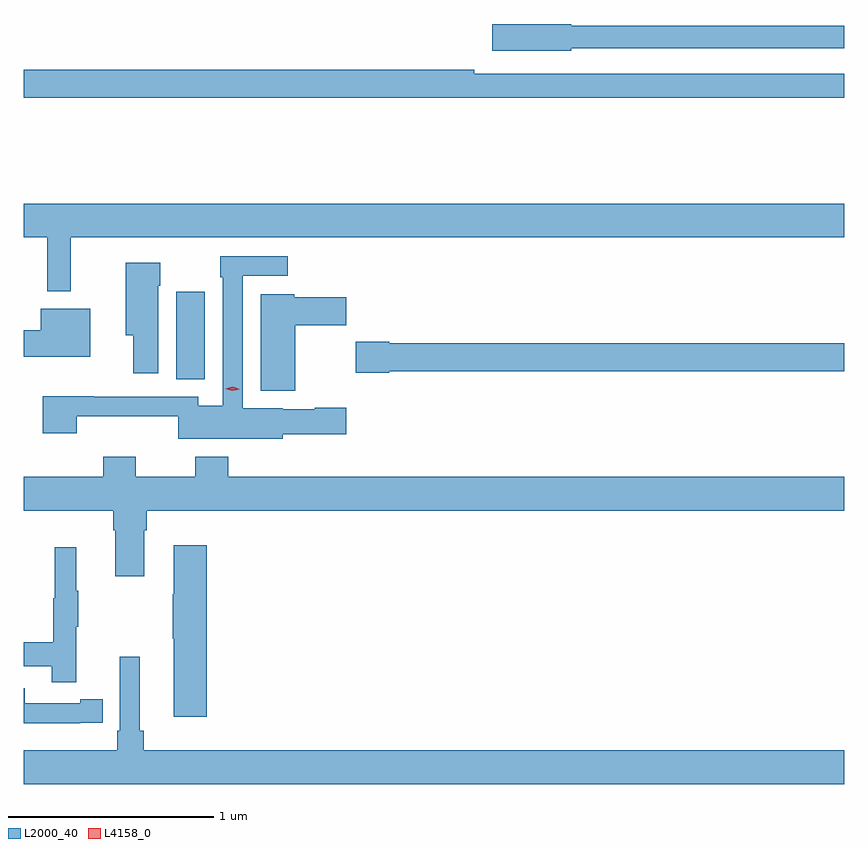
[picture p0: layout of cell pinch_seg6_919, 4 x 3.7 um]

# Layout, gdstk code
import gdstk
lib = gdstk.Library(unit=1e-6, precision=1e-09)
def R(c, l, rs):  # rectangles x0, y0, x1, y1
    for r in rs: c.add(gdstk.rectangle(r[:2], r[2:], *l))
def P(c, l, *ps):  # polygons
    for p in ps: c.add(gdstk.Polygon(p, *l))
L2000_40 = (2000, 40)
L4158_0 = (4158, 0)

pinch_seg6_919 = lib.new_cell('pinch_seg6_919')
R(pinch_seg6_919, L2000_40, [(250.154,934.657,250.291,935.083)])
P(pinch_seg6_919, L2000_40, [(252.078,936.27),(253.409,936.27),(253.409,936.379),(252.078,936.379),(252.078,936.387),(251.694,936.387),(251.694,936.257),(252.078,936.257)],
  [(253.409,936.144),(251.606,936.144),(251.606,936.164),(249.409,936.164),(249.409,936.028),(253.409,936.028)],
  [(249.409,935.348),(249.525,935.348),(249.525,935.085),(249.638,935.085),(249.638,935.348),(253.409,935.348),(253.409,935.512),(249.409,935.512)],
  [(250.671,934.388),(250.981,934.388),(250.981,934.518),(250.828,934.518),(250.828,934.51),(250.671,934.51),(250.671,934.516),(250.476,934.516),(250.476,935.16),(250.696,935.16),(250.696,935.256),(250.368,935.256),(250.368,935.153),(250.38,935.153),(250.38,934.528),(250.26,934.528),(250.26,934.572),(249.751,934.572),(249.751,934.574),(249.503,934.574),(249.503,934.392),(249.668,934.392),(249.668,934.475),(250.164,934.475),(250.164,934.367),(250.671,934.367)],
  [(250.066,935.111),(250.074,935.111),(250.074,935.224),(249.908,935.224),(249.908,934.871),(249.944,934.871),(249.944,934.686),(250.066,934.686)],
  [(250.732,934.918),(250.981,934.918),(250.981,935.055),(250.728,935.055),(250.728,935.071),(250.565,935.071),(250.565,934.601),(250.732,934.601)],
  [(249.733,934.999),(249.494,934.999),(249.494,934.896),(249.409,934.896),(249.409,934.766),(249.733,934.766)],
  [(251.19,934.696),(253.409,934.696),(253.409,934.832),(251.19,934.832),(251.19,934.84),(251.028,934.84),(251.028,934.688),(251.19,934.688)],
  [(249.997,933.92),(250.01,933.92),(250.01,934.016),(253.409,934.016),(253.409,934.18),(250.406,934.18),(250.406,934.279),(250.246,934.279),(250.246,934.18),(249.957,934.18),(249.957,934.279),(249.797,934.279),(249.797,934.18),(249.409,934.18),(249.409,934.016),(249.845,934.016),(249.845,933.92),(249.857,933.92),(249.857,933.696),(249.997,933.696)],
  [(250.301,933.847),(250.142,933.847),(250.142,933.608),(250.135,933.608),(250.135,933.391),(250.142,933.391),(250.142,933.012),(250.301,933.012)],
  [(249.665,933.451),(249.676,933.451),(249.676,933.625),(249.665,933.625),(249.665,933.838),(249.562,933.838),(249.562,933.588),(249.555,933.588),(249.555,933.374),(249.409,933.374),(249.409,933.258),(249.547,933.258),(249.547,933.18),(249.665,933.18)],
  [(253.409,932.848),(249.995,932.848),(249.995,932.944),(249.976,932.944),(249.976,933.304),(249.879,933.304),(249.879,932.944),(249.866,932.944),(249.866,932.848),(249.409,932.848),(249.409,932.684),(253.409,932.684)],
  [(249.686,932.982),(249.794,932.982),(249.794,933.098),(249.686,933.098),(249.686,933.078),(249.414,933.078),(249.414,933.15),(249.409,933.15),(249.409,932.981),(249.686,932.981)])
P(pinch_seg6_919, L4158_0, [(250.427,934.599),(250.393,934.609),(250.392,934.609),(250.393,934.61),(250.428,934.619),(250.462,934.608),(250.463,934.608),(250.462,934.608)])

lib.write_gds('pinch_seg6_919.gds')
